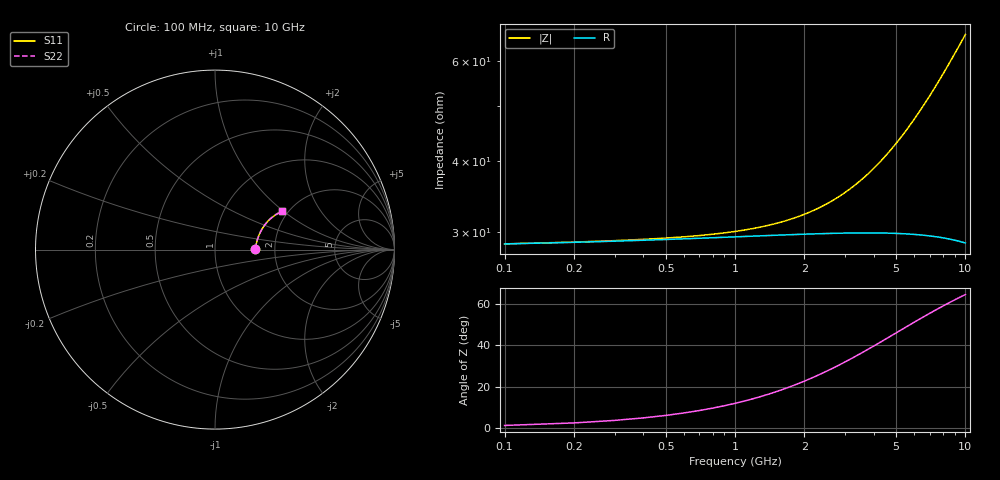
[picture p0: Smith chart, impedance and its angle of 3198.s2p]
# Hz S RI R 50.00
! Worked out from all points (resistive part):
!   100 points, 100 MHz to 10 GHz, reference 50 ohm
!   read as one part in series: R = 28.6 ohm at 100 MHz
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1e8  0.2224 0.00292  0.7776 -0.00452  0.7776 -0.00452  0.2224 0.00292
2e8  0.2236 0.00582  0.7764 -0.00902  0.7764 -0.00902  0.2236 0.00582
3e8  0.2245 0.0087  0.7755 -0.0135  0.7755 -0.0135  0.2245 0.0087
9e8  0.2285 0.0258  0.7713 -0.0402  0.7713 -0.0402  0.2285 0.0258
1.2e9  0.2305 0.0342  0.7693 -0.0534  0.7693 -0.0534  0.2305 0.0342
1.5e9  0.2326 0.0426  0.7671 -0.0666  0.7671 -0.0666  0.2326 0.0426
1.8e9  0.2349 0.0509  0.7647 -0.0797  0.7647 -0.0797  0.2349 0.0509
2.1e9  0.2373 0.059  0.762 -0.0926  0.762 -0.0926  0.2373 0.059
2.5e9  0.241 0.0698  0.7581 -0.1098  0.7581 -0.1098  0.241 0.0698
2.9e9  0.245 0.0803  0.7537 -0.1267  0.7537 -0.1267  0.245 0.0803
3.4e9  0.2507 0.0931  0.7476 -0.1476  0.7476 -0.1476  0.2507 0.0931
3.8e9  0.2557 0.1031  0.7423 -0.164  0.7423 -0.164  0.2557 0.1031
4.2e9  0.261 0.1128  0.7364 -0.1801  0.7364 -0.1801  0.261 0.1128
4.6e9  0.2668 0.1223  0.7301 -0.196  0.7301 -0.196  0.2668 0.1223
5.1e9  0.2745 0.1336  0.7217 -0.2153  0.7217 -0.2153  0.2745 0.1336
5.9e9  0.288 0.1506  0.7069 -0.2452  0.7069 -0.2452  0.288 0.1506
6.7e9  0.3028 0.1661  0.6907 -0.2737  0.6907 -0.2737  0.3028 0.1661
7.2e9  0.3125 0.175  0.6799 -0.2908  0.6799 -0.2908  0.3125 0.175
7.6e9  0.3206 0.1817  0.671 -0.3039  0.671 -0.3039  0.3206 0.1817
8.4e9  0.3375 0.1939  0.6523 -0.3291  0.6523 -0.3291  0.3375 0.1939
9.2e9  0.355 0.2044  0.6326 -0.3527  0.6326 -0.3527  0.355 0.2044
1e10  0.3731 0.2133  0.6123 -0.3747  0.6123 -0.3747  0.3731 0.2133
